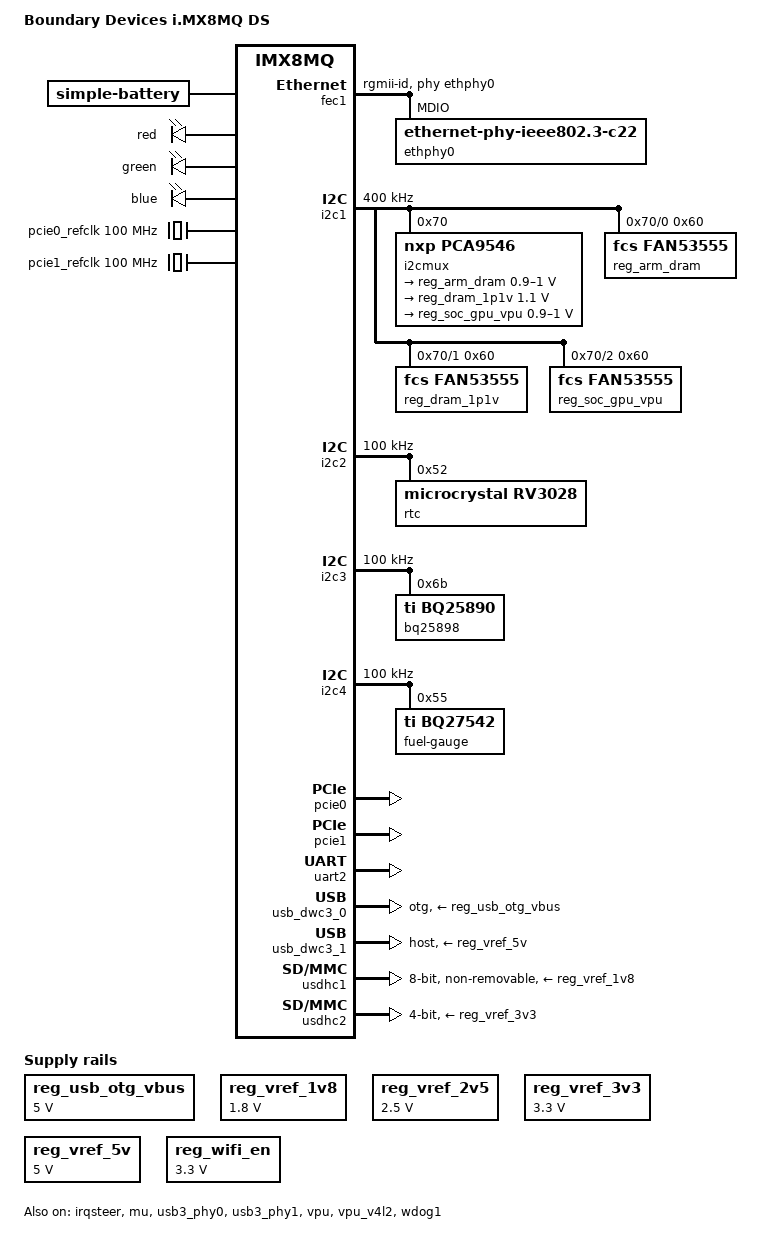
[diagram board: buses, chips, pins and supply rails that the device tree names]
// SPDX-License-Identifier: (GPL-2.0+ OR MIT)
/*
 * Copyright 2020 Boundary Devices
 */

/dts-v1/;

#include "imx8mq.dtsi"

&iomuxc {
	pinctrl-names = "default";
	pinctrl-0 = <&pinctrl_hog>;

	pinctrl_bt_rfkill: bt-rfkillgrp {
		fsl,pins = <
#define GP_BT_RFKILL_RESET	<&gpio1 4 GPIO_ACTIVE_LOW>
			MX8MQ_IOMUXC_GPIO1_IO04_GPIO1_IO4		0x19
		>;
	};

	pinctrl_fec1: fec1grp {
		fsl,pins = <
			MX8MQ_IOMUXC_ENET_MDC_ENET1_MDC			0x3
			MX8MQ_IOMUXC_ENET_MDIO_ENET1_MDIO		0x23
			MX8MQ_IOMUXC_ENET_TX_CTL_ENET1_RGMII_TX_CTL	0x1f
			MX8MQ_IOMUXC_ENET_TXC_ENET1_RGMII_TXC		0x1f
			MX8MQ_IOMUXC_ENET_TD0_ENET1_RGMII_TD0		0x1f
			MX8MQ_IOMUXC_ENET_TD1_ENET1_RGMII_TD1		0x1f
			MX8MQ_IOMUXC_ENET_TD2_ENET1_RGMII_TD2		0x1f
			MX8MQ_IOMUXC_ENET_TD3_ENET1_RGMII_TD3		0x1f
			MX8MQ_IOMUXC_ENET_RX_CTL_ENET1_RGMII_RX_CTL	0x91
			MX8MQ_IOMUXC_ENET_RXC_ENET1_RGMII_RXC		0x91
			MX8MQ_IOMUXC_ENET_RD0_ENET1_RGMII_RD0		0x91
			MX8MQ_IOMUXC_ENET_RD1_ENET1_RGMII_RD1		0x91
			MX8MQ_IOMUXC_ENET_RD2_ENET1_RGMII_RD2		0x91
			MX8MQ_IOMUXC_ENET_RD3_ENET1_RGMII_RD3		0x91
#define GP_FEC1_RESET	<&gpio1 9 GPIO_ACTIVE_LOW>
			MX8MQ_IOMUXC_GPIO1_IO09_GPIO1_IO9		0x19
#define GPIRQ_FEC1_PHY	<&gpio1 11 IRQ_TYPE_LEVEL_LOW>
			MX8MQ_IOMUXC_GPIO1_IO11_GPIO1_IO11		0xc1
		>;
	};

	pinctrl_hog: hoggrp {
		fsl,pins = <
			/* SW_SYNC */
			MX8MQ_IOMUXC_SAI5_RXD1_GPIO3_IO22		0xd9
			/* SW_PRIV */
			MX8MQ_IOMUXC_SAI5_RXD2_GPIO3_IO23		0xd9
			/* FAN_ROTOLOCK */
			MX8MQ_IOMUXC_ECSPI1_SS0_GPIO5_IO9		0x19
			/* FAN_VOUT */
			MX8MQ_IOMUXC_ECSPI1_MISO_GPIO5_IO8		0x19
		>;
	};

	pinctrl_i2c1: i2c1grp {
		fsl,pins = <
			MX8MQ_IOMUXC_I2C1_SCL_I2C1_SCL			0x4000007f
			MX8MQ_IOMUXC_I2C1_SDA_I2C1_SDA			0x4000007f
		>;
	};

	pinctrl_i2c1_1: i2c1_1grp {
		fsl,pins = <
#define GP_I2C1_SCL	<&gpio5 14 GPIO_OPEN_DRAIN>
			MX8MQ_IOMUXC_I2C1_SCL_GPIO5_IO14		0x4000007f
#define GP_I2C1_SDA	<&gpio5 15 GPIO_OPEN_DRAIN>
			MX8MQ_IOMUXC_I2C1_SDA_GPIO5_IO15		0x4000007f
		>;
	};

	pinctrl_i2c1_pca9546: i2c1-pca9546grp {
		fsl,pins = <
#define GP_I2C1_PCA9546_RESET	<&gpio3 24 GPIO_ACTIVE_LOW>
			MX8MQ_IOMUXC_SAI5_RXD3_GPIO3_IO24		0x49
		>;
	};

	pinctrl_i2c2: i2c2grp {
		fsl,pins = <
			MX8MQ_IOMUXC_I2C2_SCL_I2C2_SCL			0x4000007f
			MX8MQ_IOMUXC_I2C2_SDA_I2C2_SDA			0x4000007f
		>;
	};

	pinctrl_i2c2_1: i2c2_1grp {
		fsl,pins = <
#define GP_I2C2_SCL	<&gpio5 16 GPIO_OPEN_DRAIN>
			MX8MQ_IOMUXC_I2C2_SCL_GPIO5_IO16		0x4000007f
#define GP_I2C2_SDA	<&gpio5 17 GPIO_OPEN_DRAIN>
			MX8MQ_IOMUXC_I2C2_SDA_GPIO5_IO17		0x4000007f
		>;
	};

	pinctrl_i2c2_rv3028: i2c2-rv3028grp {
		fsl,pins = <
#define GPIRQ_RV3028	<&gpio1 6 IRQ_TYPE_LEVEL_LOW>
			MX8MQ_IOMUXC_GPIO1_IO06_GPIO1_IO6		0x1c0
		>;
	};

	pinctrl_i2c3: i2c3grp {
		fsl,pins = <
			MX8MQ_IOMUXC_I2C3_SCL_I2C3_SCL			0x4000007f
			MX8MQ_IOMUXC_I2C3_SDA_I2C3_SDA			0x4000007f
		>;
	};

	pinctrl_i2c3_1: i2c3_1grp {
		fsl,pins = <
#define GP_I2C3_SCL	<&gpio5 18 GPIO_OPEN_DRAIN>
			MX8MQ_IOMUXC_I2C3_SCL_GPIO5_IO18		0x4000007f
#define GP_I2C3_SDA	<&gpio5 19 GPIO_OPEN_DRAIN>
			MX8MQ_IOMUXC_I2C3_SDA_GPIO5_IO19		0x4000007f
		>;
	};

	pinctrl_i2c3_bq25898: i2c3-bq25898grp {
		fsl,pins = <
			MX8MQ_IOMUXC_SAI5_RXFS_GPIO3_IO19		0x16
			MX8MQ_IOMUXC_SAI5_RXC_GPIO3_IO20		0x16
#define GPIRQ_BQ25898	<&gpio3 21 IRQ_TYPE_EDGE_FALLING>
			MX8MQ_IOMUXC_SAI5_RXD0_GPIO3_IO21		0x81
			MX8MQ_IOMUXC_SAI5_MCLK_GPIO3_IO25		0x16
		>;
	};

	pinctrl_i2c4: i2c4grp {
		fsl,pins = <
			MX8MQ_IOMUXC_I2C4_SCL_I2C4_SCL			0x4000007f
			MX8MQ_IOMUXC_I2C4_SDA_I2C4_SDA			0x4000007f
		>;
	};

	pinctrl_i2c4_1: i2c4_1grp {
		fsl,pins = <
#define GP_I2C4_SCL	<&gpio5 20 GPIO_OPEN_DRAIN>
			MX8MQ_IOMUXC_I2C4_SCL_GPIO5_IO20		0x4000007f
#define GP_I2C4_SDA	<&gpio5 21 GPIO_OPEN_DRAIN>
			MX8MQ_IOMUXC_I2C4_SDA_GPIO5_IO21		0x4000007f
		>;
	};

	pinctrl_leds: ledsgrp {
		fsl,pins = <
#define GP_LED_RED	<&gpio1 1 GPIO_ACTIVE_HIGH>
			MX8MQ_IOMUXC_GPIO1_IO01_GPIO1_IO1		0x19
#define GP_LED_GREEN	<&gpio1 0 GPIO_ACTIVE_HIGH>
			MX8MQ_IOMUXC_GPIO1_IO00_GPIO1_IO0		0x19
#define GP_LED_BLUE	<&gpio1 3 GPIO_ACTIVE_HIGH>
			MX8MQ_IOMUXC_GPIO1_IO03_GPIO1_IO3		0x19
		>;
	};

	pinctrl_pcie0: pcie0grp {
		fsl,pins = <
#define GP_PCIE0_RESET	<&gpio5 7 GPIO_ACTIVE_LOW>
			MX8MQ_IOMUXC_ECSPI1_MOSI_GPIO5_IO7		0x16
			MX8MQ_IOMUXC_UART4_RXD_PCIE1_CLKREQ_B		0x16
		>;
	};

	pinctrl_pcie1: pcie1grp {
		fsl,pins = <
#define GP_PCIE1_RESET	<&gpio5 6 GPIO_ACTIVE_LOW>
			MX8MQ_IOMUXC_ECSPI1_SCLK_GPIO5_IO6		0x16
			MX8MQ_IOMUXC_UART4_TXD_PCIE2_CLKREQ_B		0x16
		>;
	};

	pinctrl_reg_arm_dram: reg-arm-dram {
		fsl,pins = <
#define GP_ARM_DRAM_VSEL	<&gpio1 14 GPIO_ACTIVE_HIGH>
			MX8MQ_IOMUXC_GPIO1_IO14_GPIO1_IO14		0x16
		>;
	};

	pinctrl_reg_dram_1p1v: reg-dram-1p1v {
		fsl,pins = <
#define GP_DRAM_1P1_VSEL	<&gpio1 7 GPIO_ACTIVE_HIGH>
			MX8MQ_IOMUXC_GPIO1_IO07_GPIO1_IO7		0x16
		>;
	};

	pinctrl_reg_soc_gpu_vpu: reg-soc-gpu-vpu {
		fsl,pins = <
#define GP_SOC_GPU_VPU_VSEL	<&gpio1 10 GPIO_ACTIVE_HIGH>
			MX8MQ_IOMUXC_GPIO1_IO10_GPIO1_IO10		0x16
		>;
	};

	pinctrl_reg_usbotg_vbus: reg-usbotg-vbusgrp {
		fsl,pins = <
#define GP_REG_USB_OTG_VBUS	<&gpio1 12 GPIO_ACTIVE_HIGH>
			MX8MQ_IOMUXC_GPIO1_IO12_GPIO1_IO12		0x16
		>;
	};

	pinctrl_reg_wifi_en: reg-wifi-engrp {
		fsl,pins = <
#define GP_REG_WIFI_EN		<&gpio5 10 GPIO_ACTIVE_HIGH>
			MX8MQ_IOMUXC_ECSPI2_SCLK_GPIO5_IO10		0x16
		>;
	};

	pinctrl_uart2: uart2grp {
		fsl,pins = <
			MX8MQ_IOMUXC_UART2_RXD_UART2_DCE_RX		0x45
			MX8MQ_IOMUXC_UART2_TXD_UART2_DCE_TX		0x45
		>;
	};

	pinctrl_usb3_0: usb3-0grp {
		fsl,pins = <
			MX8MQ_IOMUXC_GPIO1_IO13_USB1_OTG_OC		0x16
		>;
	};

	pinctrl_usdhc1: usdhc1grp {
		fsl,pins = <
			MX8MQ_IOMUXC_SD1_CLK_USDHC1_CLK			0x83
			MX8MQ_IOMUXC_SD1_CMD_USDHC1_CMD			0xc3
			MX8MQ_IOMUXC_SD1_DATA0_USDHC1_DATA0		0xc3
			MX8MQ_IOMUXC_SD1_DATA1_USDHC1_DATA1		0xc3
			MX8MQ_IOMUXC_SD1_DATA2_USDHC1_DATA2		0xc3
			MX8MQ_IOMUXC_SD1_DATA3_USDHC1_DATA3		0xc3
			MX8MQ_IOMUXC_SD1_DATA4_USDHC1_DATA4		0xc3
			MX8MQ_IOMUXC_SD1_DATA5_USDHC1_DATA5		0xc3
			MX8MQ_IOMUXC_SD1_DATA6_USDHC1_DATA6		0xc3
			MX8MQ_IOMUXC_SD1_DATA7_USDHC1_DATA7		0xc3
#define GP_EMMC_RESET		<&gpio2 10 GPIO_ACTIVE_LOW>
			MX8MQ_IOMUXC_SD1_RESET_B_GPIO2_IO10		0x41
		>;
	};

	pinctrl_usdhc1_100mhz: usdhc1grp100mhz {
		fsl,pins = <
			MX8MQ_IOMUXC_SD1_CLK_USDHC1_CLK			0x8d
			MX8MQ_IOMUXC_SD1_CMD_USDHC1_CMD			0xcd
			MX8MQ_IOMUXC_SD1_DATA0_USDHC1_DATA0		0xcd
			MX8MQ_IOMUXC_SD1_DATA1_USDHC1_DATA1		0xcd
			MX8MQ_IOMUXC_SD1_DATA2_USDHC1_DATA2		0xcd
			MX8MQ_IOMUXC_SD1_DATA3_USDHC1_DATA3		0xcd
			MX8MQ_IOMUXC_SD1_DATA4_USDHC1_DATA4		0xcd
			MX8MQ_IOMUXC_SD1_DATA5_USDHC1_DATA5		0xcd
			MX8MQ_IOMUXC_SD1_DATA6_USDHC1_DATA6		0xcd
			MX8MQ_IOMUXC_SD1_DATA7_USDHC1_DATA7		0xcd
		>;
	};

	pinctrl_usdhc1_200mhz: usdhc1grp200mhz {
		fsl,pins = <
			MX8MQ_IOMUXC_SD1_CLK_USDHC1_CLK			0x9f
			MX8MQ_IOMUXC_SD1_CMD_USDHC1_CMD			0xdf
			MX8MQ_IOMUXC_SD1_DATA0_USDHC1_DATA0		0xdf
			MX8MQ_IOMUXC_SD1_DATA1_USDHC1_DATA1		0xdf
			MX8MQ_IOMUXC_SD1_DATA2_USDHC1_DATA2		0xdf
			MX8MQ_IOMUXC_SD1_DATA3_USDHC1_DATA3		0xdf
			MX8MQ_IOMUXC_SD1_DATA4_USDHC1_DATA4		0xdf
			MX8MQ_IOMUXC_SD1_DATA5_USDHC1_DATA5		0xdf
			MX8MQ_IOMUXC_SD1_DATA6_USDHC1_DATA6		0xdf
			MX8MQ_IOMUXC_SD1_DATA7_USDHC1_DATA7		0xdf
		>;
	};

	pinctrl_usdhc2: usdhc2grp {
		fsl,pins = <
			MX8MQ_IOMUXC_SD2_CLK_USDHC2_CLK			0x83
			MX8MQ_IOMUXC_SD2_CMD_USDHC2_CMD			0xc3
			MX8MQ_IOMUXC_SD2_DATA0_USDHC2_DATA0		0xc3
			MX8MQ_IOMUXC_SD2_DATA1_USDHC2_DATA1		0xc3
			MX8MQ_IOMUXC_SD2_DATA2_USDHC2_DATA2		0xc3
			MX8MQ_IOMUXC_SD2_DATA3_USDHC2_DATA3		0xc3
#define GP_SD2_CD		<&gpio2 12 GPIO_ACTIVE_LOW>
			MX8MQ_IOMUXC_SD2_CD_B_GPIO2_IO12		0x19
		>;
	};

	pinctrl_wdog: wdoggrp {
		fsl,pins = <
			MX8MQ_IOMUXC_GPIO1_IO02_WDOG1_WDOG_B		0xc6
		>;
	};
};

/ {
	model = "Boundary Devices i.MX8MQ DS";
	compatible = "boundary,imx8mq-ds", "fsl,imx8mq";

	chosen {
		stdout-path = &uart2;
	};

	bat: battery {
		compatible = "simple-battery";
		voltage-min-design-microvolt = <3000000>;
		voltage-max-design-microvolt = <4200000>;
		energy-full-design-microwatt-hours = <57600000>;
		charge-full-design-microamp-hours = <16000000>;
	};

	bt-rfkill {
		compatible = "net,rfkill-gpio";
		pinctrl-names = "default";
		pinctrl-0 = <&pinctrl_bt_rfkill>;
		name = "bt-rfkill";
		type = <2>; /* Bluetooth */
		reset-gpios = GP_BT_RFKILL_RESET;
		status = "okay";
	};

	leds {
		compatible = "gpio-leds";
		pinctrl-names = "default";
		pinctrl-0 = <&pinctrl_leds>;

		red {
			gpios = GP_LED_RED;
			retain-state-suspended;
			default-state = "off";
		};

		green {
			gpios = GP_LED_GREEN;
			retain-state-suspended;
			default-state = "off";
		};

		blue {
			gpios = GP_LED_BLUE;
			retain-state-suspended;
			default-state = "off";
		};
	};

	pcie0_refclk: pcie0-refclk {
		compatible = "fixed-clock";
		#clock-cells = <0>;
		clock-frequency = <100000000>;
	};

	pcie1_refclk: pcie1-refclk {
		compatible = "fixed-clock";
		#clock-cells = <0>;
		clock-frequency = <100000000>;
	};

	reg_usb_otg_vbus: regulator-usb-otg-vbus {
		compatible = "regulator-fixed";
		pinctrl-names = "default";
		pinctrl-0 = <&pinctrl_reg_usbotg_vbus>;
		regulator-name = "usb_otg_vbus";
		regulator-min-microvolt = <5000000>;
		regulator-max-microvolt = <5000000>;
		gpio = GP_REG_USB_OTG_VBUS;
		enable-active-high;
	};

	reg_vref_1v8: regulator-vref-1v8 {
		compatible = "regulator-fixed";
		regulator-name = "vref-1v8";
		regulator-min-microvolt = <1800000>;
		regulator-max-microvolt = <1800000>;
	};

	reg_vref_2v5: regulator-vref-2v5 {
		compatible = "regulator-fixed";
		regulator-name = "vref-2v5";
		regulator-min-microvolt = <2500000>;
		regulator-max-microvolt = <2500000>;
	};

	reg_vref_3v3: regulator-vref-3v3 {
		compatible = "regulator-fixed";
		regulator-name = "vref-3v3";
		regulator-min-microvolt = <3300000>;
		regulator-max-microvolt = <3300000>;
	};

	reg_vref_5v: regulator-vref-5v {
		compatible = "regulator-fixed";
		regulator-name = "vref-5v";
		regulator-min-microvolt = <5000000>;
		regulator-max-microvolt = <5000000>;
	};

	reg_wifi_en: regulator-wifi-en {
		compatible = "regulator-fixed";
		pinctrl-names = "default";
		pinctrl-0 = <&pinctrl_reg_wifi_en>;
		regulator-name = "wifi_en";
		regulator-min-microvolt = <3300000>;
		regulator-max-microvolt = <3300000>;
		gpio = GP_REG_WIFI_EN;
		enable-active-high;
	};

	resmem: reserved-memory {
		#address-cells = <2>;
		#size-cells = <2>;
		ranges;

		/* global autoconfigured region for contiguous allocations */
		linux,cma {
			compatible = "shared-dma-pool";
			reusable;
			size = <0 0x3c000000>;
			alloc-ranges = <0 0x40000000 0 0x40000000>;
			linux,cma-default;
		};
	};
};

&a53_opp_table {
	opp-800000000 {
		opp-microvolt = <1000000>;
	};

	opp-1000000000 {
		opp-microvolt = <1000000>;
	};
};

&A53_0 {
	cpu-supply = <&reg_arm_dram>;
};

&A53_1 {
	cpu-supply = <&reg_arm_dram>;
};

&A53_2 {
	cpu-supply = <&reg_arm_dram>;
};

&A53_3 {
	cpu-supply = <&reg_arm_dram>;
};

&fec1 {
	pinctrl-names = "default";
	pinctrl-0 = <&pinctrl_fec1>;
#if 0
	phy-reset-gpios = GP_FEC1_RESET;
#endif
	phy-mode = "rgmii-id";
	phy-handle = <&ethphy0>;
	fsl,magic-packet;
	status = "okay";

	mdio {
		#address-cells = <1>;
		#size-cells = <0>;

		ethphy0: ethernet-phy {
			compatible = "ethernet-phy-ieee802.3-c22";
			interrupts-extended = GPIRQ_FEC1_PHY;
			reg-mask = <0x90>;
		};
	};
};

&i2c1 {
	clock-frequency = <400000>;
	pinctrl-names = "default", "gpio";
	pinctrl-0 = <&pinctrl_i2c1>;
	pinctrl-1 = <&pinctrl_i2c1_1>;
	scl-gpios = GP_I2C1_SCL;
	sda-gpios = GP_I2C1_SDA;
	status = "okay";

	i2cmux@70 {
		compatible = "nxp,pca9546";
		pinctrl-names = "default";
		pinctrl-0 = <&pinctrl_i2c1_pca9546>;
		reg = <0x70>;
		reset-gpios = GP_I2C1_PCA9546_RESET;
		#address-cells = <1>;
		#size-cells = <0>;

		i2c1a: i2c1@0 {
			reg = <0>;
			#address-cells = <1>;
			#size-cells = <0>;
		};

		i2c1b: i2c1@1 {
			reg = <1>;
			#address-cells = <1>;
			#size-cells = <0>;
		};

		i2c1c: i2c1@2 {
			reg = <2>;
			#address-cells = <1>;
			#size-cells = <0>;
		};

		i2c1d: i2c1@3 {
			reg = <3>;
			#address-cells = <1>;
			#size-cells = <0>;
		};
	};
};

&i2c1a {
	reg_arm_dram: fan53555@60 {
		compatible = "fcs,fan53555";
		pinctrl-names = "default";
		pinctrl-0 = <&pinctrl_reg_arm_dram>;
		reg = <0x60>;
		regulator-min-microvolt =  <900000>;
		regulator-max-microvolt = <1000000>;
		regulator-always-on;
		vsel-gpios = GP_ARM_DRAM_VSEL;
	};
};

&i2c1b {
	reg_dram_1p1v: fan53555@60 {
		compatible = "fcs,fan53555";
		pinctrl-names = "default";
		pinctrl-0 = <&pinctrl_reg_dram_1p1v>;
		reg = <0x60>;
		regulator-min-microvolt = <1100000>;
		regulator-max-microvolt = <1100000>;
		regulator-always-on;
		vsel-gpios = GP_DRAM_1P1_VSEL;
	};
};

&i2c1c {
	reg_soc_gpu_vpu: fan53555@60 {
		compatible = "fcs,fan53555";
		pinctrl-names = "default";
		pinctrl-0 = <&pinctrl_reg_soc_gpu_vpu>;
		reg = <0x60>;
		regulator-min-microvolt =  <900000>;
		regulator-max-microvolt = <1000000>;
		regulator-always-on;
		fcs,suspend-voltage-selector = <1>;
		vsel-gpios = GP_SOC_GPU_VPU_VSEL;
	};
};

&i2c2 {
	clock-frequency = <100000>;
	pinctrl-names = "default", "gpio";
	pinctrl-0 = <&pinctrl_i2c2>;
	pinctrl-1 = <&pinctrl_i2c2_1>;
	scl-gpios = GP_I2C2_SCL;
	sda-gpios = GP_I2C2_SDA;
	status = "okay";

	rtc@52 {
		backup-switchover-dsm;
		compatible = "microcrystal,rv3028";
		pinctrl-names = "default";
		pinctrl-0 = <&pinctrl_i2c2_rv3028>;
		reg = <0x52>;
		interrupts-extended = GPIRQ_RV3028;
		wakeup-source;
	};
};

&i2c3 {
	clock-frequency = <100000>;
	pinctrl-names = "default", "gpio";
	pinctrl-0 = <&pinctrl_i2c3>;
	pinctrl-1 = <&pinctrl_i2c3_1>;
	scl-gpios = GP_I2C3_SCL;
	sda-gpios = GP_I2C3_SDA;
	status = "okay";

	bq25898@6b {
	        compatible = "ti,bq25890";
	        reg = <0x6b>;
		pinctrl-names = "default";
		pinctrl-0 = <&pinctrl_i2c3_bq25898>;
		interrupts-extended = GPIRQ_BQ25898;
		skip-reset;
	        ti,battery-regulation-voltage = <4200000>;
	        ti,charge-current = <2000000>;
		ti,iilim-current = <3150000>;
	        ti,termination-current = <50000>;
	        ti,precharge-current = <128000>;
	        ti,minimum-sys-voltage = <3600000>;
	        ti,boost-voltage = <4200000>;
	        ti,boost-max-current = <3200000>;
	        ti,use-ilim-pin;
	        ti,thermal-regulation-threshold = <120>;
	};
};

&i2c4 {
	clock-frequency = <100000>;
	pinctrl-names = "default", "gpio";
	pinctrl-0 = <&pinctrl_i2c4>;
	pinctrl-1 = <&pinctrl_i2c4_1>;
	scl-gpios = GP_I2C4_SCL;
	sda-gpios = GP_I2C4_SDA;
	status = "okay";

	fuel-gauge@55 {
		compatible = "ti,bq27542";
		reg = <0x55>;
		monitored-battery = <&bat>;
	};
};

&irqsteer {
	status = "okay";
};

&mu {
	status = "okay";
};

&pcie0 { /* SX-PCEAC2 */
	assigned-clocks = <&clk IMX8MQ_CLK_PCIE1_AUX>,
			  <&clk IMX8MQ_CLK_PCIE1_PHY>,
			  <&clk IMX8MQ_CLK_PCIE1_CTRL>;
	assigned-clock-parents = <&clk IMX8MQ_SYS2_PLL_50M>,
				 <&clk IMX8MQ_SYS2_PLL_100M>,
				 <&clk IMX8MQ_SYS2_PLL_250M>;
	assigned-clock-rates = <10000000>, <100000000>, <250000000>;
	clocks = <&clk IMX8MQ_CLK_PCIE1_ROOT>,
		<&clk IMX8MQ_CLK_PCIE1_AUX>,
		<&clk IMX8MQ_CLK_PCIE1_PHY>,
		<&pcie0_refclk>, <&pcie0_refclk>;
	clock-names = "pcie", "pcie_aux", "pcie_phy", "pcie_bus", "pcie_ext_src";
	ext_osc = <1>;
	hard-wired;
	pinctrl-names = "default";
	pinctrl-0 = <&pinctrl_pcie0>;
	reset-gpio = GP_PCIE0_RESET;
	status = "okay";
	vpcie-supply = <&reg_wifi_en>;
};

&pcie1 { /* Edge TPU */
	assigned-clocks = <&clk IMX8MQ_CLK_PCIE2_AUX>,
			  <&clk IMX8MQ_CLK_PCIE2_PHY>,
			  <&clk IMX8MQ_CLK_PCIE2_CTRL>;
	assigned-clock-parents = <&clk IMX8MQ_SYS2_PLL_50M>,
				 <&clk IMX8MQ_SYS2_PLL_100M>,
				 <&clk IMX8MQ_SYS2_PLL_250M>;
	assigned-clock-rates = <10000000>, <100000000>, <250000000>;
	clocks = <&clk IMX8MQ_CLK_PCIE2_ROOT>,
		<&clk IMX8MQ_CLK_PCIE2_AUX>,
		<&clk IMX8MQ_CLK_PCIE2_PHY>,
		<&pcie1_refclk>, <&pcie1_refclk>;
	clock-names = "pcie", "pcie_aux", "pcie_phy", "pcie_bus", "pcie_ext_src";
	ext_osc = <1>;
	hard-wired;
	pinctrl-names = "default";
	pinctrl-0 = <&pinctrl_pcie1>;
	reset-gpio = GP_PCIE1_RESET;
	status = "okay";
};

&uart2 { /* console */
	pinctrl-names = "default";
	pinctrl-0 = <&pinctrl_uart2>;
	assigned-clocks = <&clk IMX8MQ_CLK_UART2>;
	assigned-clock-parents = <&clk IMX8MQ_CLK_25M>;
	status = "okay";
};

&usb3_phy0 {
	status = "okay";
	vbus-supply = <&reg_vref_5v>;
};

&usb_dwc3_0 {
	dr_mode = "otg";
	pinctrl-names = "default";
	pinctrl-0 = <&pinctrl_usb3_0>;
	status = "okay";
	vbus-supply = <&reg_usb_otg_vbus>;
};

&usb3_phy1 {
	status = "okay";
	vbus-supply = <&reg_vref_5v>;
};

&usb_dwc3_1 {
	dr_mode = "host";
	status = "okay";
	vbus-supply = <&reg_vref_5v>;
};

&usdhc1 {
	bus-width = <8>;
	no-mmc-hs400;
	pinctrl-names = "default", "state_100mhz", "state_200mhz";
	pinctrl-0 = <&pinctrl_usdhc1>;
	pinctrl-1 = <&pinctrl_usdhc1_100mhz>;
	pinctrl-2 = <&pinctrl_usdhc1_200mhz>;
	non-removable;
	vqmmc-1-8-v;
	vmmc-supply = <&reg_vref_1v8>;
	status = "okay";
};

&usdhc2 {
	bus-width = <4>;
	pinctrl-names = "default";
	pinctrl-0 = <&pinctrl_usdhc2>;
	status = "okay";
	cd-gpios = GP_SD2_CD;
	vmmc-supply = <&reg_vref_3v3>;
};

&vpu {
	regulator-supply = <&reg_soc_gpu_vpu>;
	status = "okay";
};

&vpu_v4l2 {
	status = "okay";
};

&wdog1 {
	pinctrl-names = "default";
	pinctrl-0 = <&pinctrl_wdog>;
	fsl,ext-reset-output;
	status = "okay";
};
